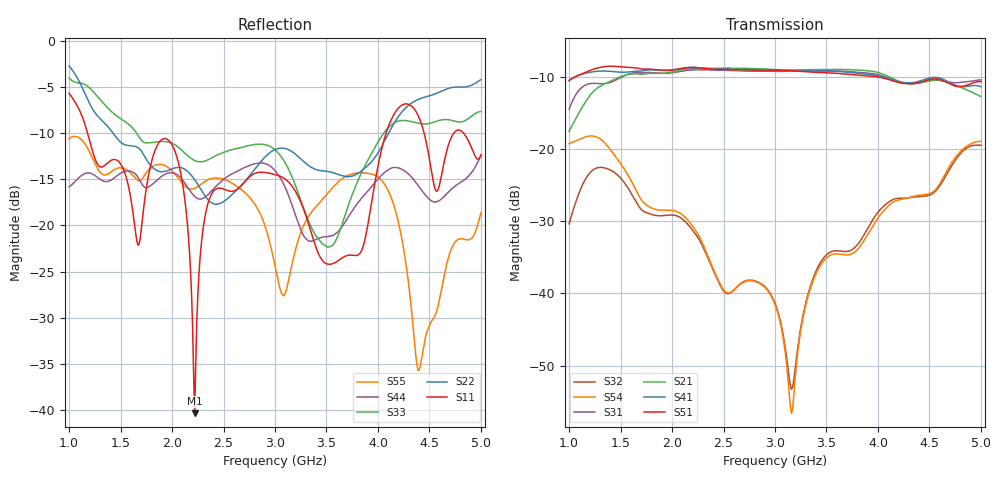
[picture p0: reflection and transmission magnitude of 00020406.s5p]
! AWR Design Environment (19377) Sat Dec 27 02:21:50 2025
! Document = 'EM_Extract_4_way'
! nPorts: 5, nXvals: 401
! Created with skrf 1.8.0 (http://scikit-rf.org).
# GHz S RI R 50.0
!freq ReS11 ImS11 ReS12 ImS12 ReS13 ImS13
! ReS14 ImS14 ReS15 ImS15
! ReS21 ImS21 ReS22 ImS22 ReS23 ImS23
! ReS24 ImS24 ReS25 ImS25
! ReS31 ImS31 ReS32 ImS32 ReS33 ImS33
! ReS34 ImS34 ReS35 ImS35
! ReS41 ImS41 ReS42 ImS42 ReS43 ImS43
! ReS44 ImS44 ReS45 ImS45
! ReS51 ImS51 ReS52 ImS52 ReS53 ImS53
! ReS54 ImS54 ReS55 ImS55
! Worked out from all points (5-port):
!   401 points, 1 GHz to 5 GHz, reference 50 ohm
!   strongest paths, dB at 1 GHz, 2 GHz, 3 GHz, 4 GHz, 5 GHz:
!     S51: -10.5, -9.1, -9.1, -10.0, -10.7
!     S41: -10.6, -9.1, -9.2, -9.9, -11.4
!     S21: -17.5, -9.4, -9.0, -9.4, -12.7
!     S31: -14.5, -9.5, -9.3, -9.7, -10.4
!     S54: -19.3, -28.5, -41.6, -29.6, -18.9
!     S32: -30.4, -29.2, -41.4, -28.8, -19.5
!   lowest |S11| = -40.3 dB at 2.22 GHz (marker M1), VSWR 1.02, Z = 49.3 + j0.655 ohm
!   |S11| at or under -10 dB: 1.179 GHz to 4.079 GHz (2.9 GHz wide, 110 % of centre); 4.448 GHz to 4.737 GHz (289.1 MHz wide, 6.29 % of centre); 4.831 GHz to end of sweep
